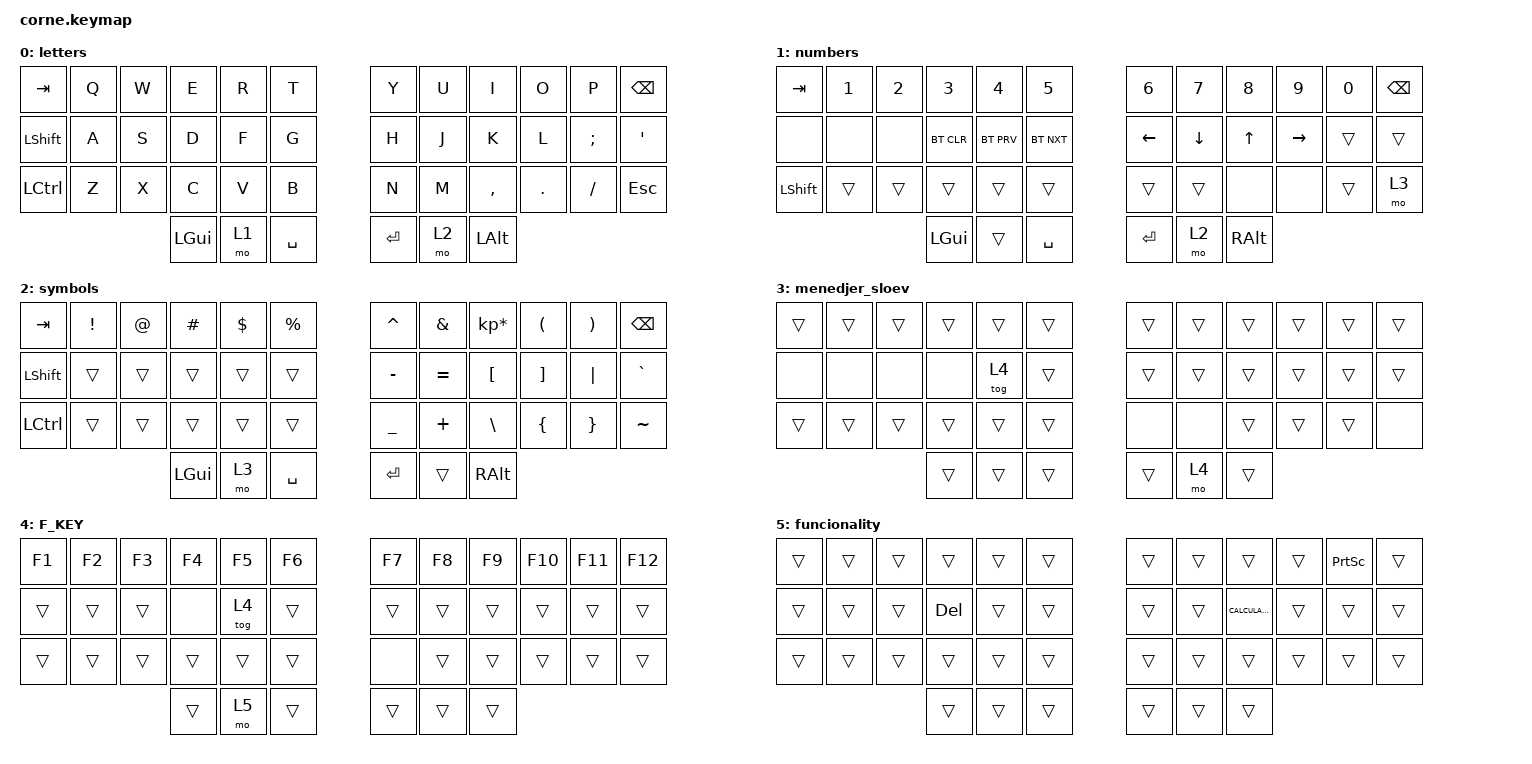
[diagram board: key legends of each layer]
/*
 * Copyright (c) 2020 The ZMK Contributors
 *
 * SPDX-License-Identifier: MIT
 */

#include <behaviors.dtsi>
#include <dt-bindings/zmk/bt.h>
#include <dt-bindings/zmk/keys.h>

/ {
    chosen {
        zmk,layer_widget = &layer_status;
        zmk,output_widget = &output_status;
        zmk,battery_widget = &battery_status;
        zmk,wpm_widget = &wpm_status;
    };

    wpm_status: wpm_status {
        compatible = "zmk,wpm-indicator-widget";
    };

    layer_status: layer_status {
        compatible = "zmk,layer-indicator-widget";
    };

    output_status: output_status {
        compatible = "zmk,output-indicator-widget";
    };

    battery_status: battery_status {
        compatible = "zmk,battery-indicator-widget";
    };

    combos {
        compatible = "zmk,combos";

        YouTube {
            bindings = <&Start_Youtube>;
            key-positions = <7 9 4 2>;
            layers = <0>;
            timeout-ms = <2>;
        };

        Social {
            bindings = <&Start_Social>;
            key-positions = <19 21 14 16>;
        };
    };

    macros {
        Start_Youtube: Start_All {
            compatible = "zmk,behavior-macro";
            #binding-cells = <0>;
            bindings =
                <&macro_press>,
                <&kp LEFT_GUI>,
                <&macro_tap>,
                <&kp NUMBER_1 &kp F>,
                <&macro_release>,
                <&macro_press>,
                <&kp LCTRL>,
                <&macro_tap>,
                <&kp L>,
                <&macro_release>,
                <&macro_press>,
                <&kp LS(LEFT_ALT)>,
                <&macro_tap>,
                <&kp ENTER>,
                <&macro_release>,
                <&macro_tap>,
                <&kp Y &kp T>,
                <&macro_tap>,
                <&kp ENTER>;

            label = "START_ALL";
            tap-ms = <5>;
            wait-ms = <15>;
        };

        Start_Social: Start_Social {
            compatible = "zmk,behavior-macro";
            #binding-cells = <0>;
            bindings =
                <&macro_press>,
                <&kp LEFT_GUI>,
                <&macro_tap>,
                <&kp NUMBER_2 &kp F>,
                <&macro_release>,
                <&macro_press>,
                <&kp LS(LEFT_ALT)>,
                <&macro_tap>,
                <&kp ENTER>,
                <&macro_release>,
                <&macro_tap>,
                <&kp D &kp S>,
                <&macro_tap>,
                <&kp ENTER>,
                <&macro_press>,
                <&kp LCTRL>,
                <&macro_tap>,
                <&kp T>,
                <&macro_release>,
                <&macro_tap>,
                <&kp T &kp G &kp ENTER>,
                <&macro_press>,
                <&kp LEFT_GUI>,
                <&macro_tap>,
                <&kp A>,
                <&macro_release>,
                <&macro_tap>,
                <&kp LS(E) &kp L &kp E &kp M &kp E &kp N &kp T &kp ENTER>;

            label = "START_SOCIAL";
            wait-ms = <15>;
            tap-ms = <5>;
        };
    };

    keymap {
        compatible = "zmk,keymap";

        letters {
            // -----------------------------------------------------------------------------------------
            // | TAB | Q | W | E | R | T | | Y | U | I | O | P | BKSP |
            // | CTRL | A | S | D | F | G | | H | J | K | L | ; | ' |
            // | SHFT | Z | X | C | V | B | | N | M | , | . | / | ESC |
            // | GUI | LWR | SPC | | ENT | RSE | ALT |

            bindings = <
&kp TAB         &kp Q  &kp W  &kp E     &kp R  &kp T        &kp Y    &kp U  &kp I         &kp O    &kp P     &kp BSPC
&kp LEFT_SHIFT  &kp A  &kp S  &kp D     &kp F  &kp G        &kp H    &kp J  &kp K         &kp L    &kp SEMI  &kp SQT
&kp LCTRL       &kp Z  &kp X  &kp C     &kp V  &kp B        &kp N    &kp M  &kp COMMA     &kp DOT  &kp FSLH  &kp ESC
                              &kp LGUI  &mo 1  &kp SPACE    &kp RET  &mo 2  &kp LEFT_ALT
            >;
        };

        numbers {
            // -----------------------------------------------------------------------------------------
            // | TAB | 1 | 2 | 3 | 4 | 5 | | 6 | 7 | 8 | 9 | 0 | BKSP |
            // | BTCLR| BT1 | BT2 | BT3 | BT4 | BT5 | | LFT | DWN | UP | RGT | | |
            // | SHFT | | | | | | | | | | | | |
            // | GUI | | SPC | | ENT | | ALT |

            bindings = <
&kp TAB    &kp N1  &kp N2  &kp N3      &kp N4      &kp N5        &kp N6    &kp N7    &kp N8    &kp N9     &kp N0  &kp BSPC
&none      &none   &none   &bt BT_CLR  &bt BT_PRV  &bt BT_NXT    &kp LEFT  &kp DOWN  &kp UP    &kp RIGHT  &trans  &trans
&kp LSHFT  &trans  &trans  &trans      &trans      &trans        &trans    &trans    &none     &none      &trans  &mo 3
                           &kp LGUI    &trans      &kp SPACE     &kp RET   &mo 2     &kp RALT
            >;
        };

        symbols {
            // -----------------------------------------------------------------------------------------
            // | TAB | ! | @ | # | $ | % | | ^ | & | * | ( | ) | BKSP |
            // | CTRL | | | | | | | - | = | [ | ] | \ | ` |
            // | SHFT | | | | | | | _ | + | { | } | "|" | ~ |
            // | GUI | | SPC | | ENT | | ALT |

            bindings = <
&kp TAB         &kp EXCL  &kp AT  &kp HASH  &kp DLLR  &kp PRCNT    &kp CARET  &kp AMPS   &kp KP_MULTIPLY   &kp LPAR           &kp RPAR         &kp BSPC
&kp LEFT_SHIFT  &trans    &trans  &trans    &trans    &trans       &kp MINUS  &kp EQUAL  &kp LEFT_BRACKET  &kp RIGHT_BRACKET  &kp PIPE         &kp GRAVE
&kp LCTRL       &trans    &trans  &trans    &trans    &trans       &kp UNDER  &kp PLUS   &kp BACKSLASH     &kp LEFT_BRACE     &kp RIGHT_BRACE  &kp TILDE
                                  &kp LGUI  &mo 3     &kp SPACE    &kp RET    &trans     &kp RALT
            >;
        };

        menedjer_sloev {
            bindings = <
&trans  &trans  &trans  &trans  &trans  &trans    &trans  &trans  &trans  &trans  &trans  &trans
&none   &none   &none   &none   &tog 4  &trans    &trans  &trans  &trans  &trans  &trans  &trans
&trans  &trans  &trans  &trans  &trans  &trans    &none   &none   &trans  &trans  &trans  &none
                        &trans  &trans  &trans    &trans  &mo 4   &trans
            >;
        };

        F_KEY {
            bindings = <
&kp F1  &kp F2  &kp F3  &kp F4  &kp F5  &kp F6    &kp F7  &kp F8  &kp F9  &kp F10  &kp F11  &kp F12
&trans  &trans  &trans  &none   &tog 4  &trans    &trans  &trans  &trans  &trans   &trans   &trans
&trans  &trans  &trans  &trans  &trans  &trans    &none   &trans  &trans  &trans   &trans   &trans
                        &trans  &mo 5   &trans    &trans  &trans  &trans
            >;
        };

        funcionality {
            bindings = <
&trans  &trans  &trans  &trans      &trans  &trans    &trans  &trans  &trans            &trans  &kp PRINTSCREEN  &trans
&trans  &trans  &trans  &kp DELETE  &trans  &trans    &trans  &trans  &kp K_CALCULATOR  &trans  &trans           &trans
&trans  &trans  &trans  &trans      &trans  &trans    &trans  &trans  &trans            &trans  &trans           &trans
                        &trans      &trans  &trans    &trans  &trans  &trans
            >;
        };
    };
};
